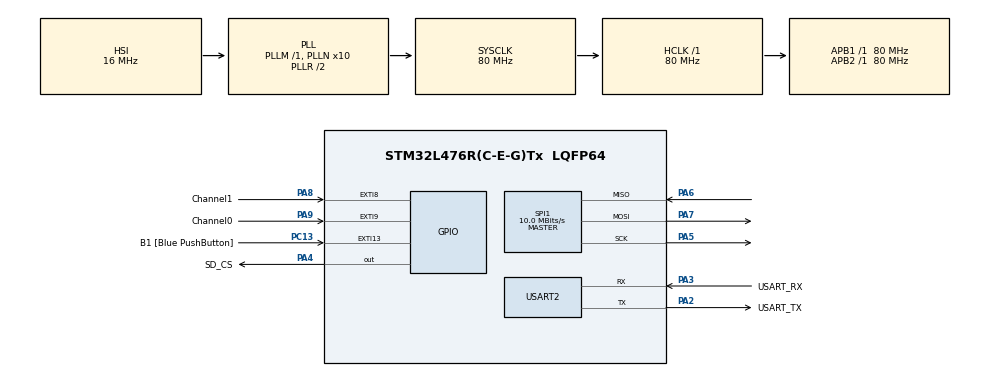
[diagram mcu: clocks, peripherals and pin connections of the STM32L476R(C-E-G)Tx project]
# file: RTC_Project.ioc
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FATFS._MAX_SS=4096
Mcu.Family=STM32L4
Mcu.Name=STM32L476R(C-E-G)Tx
Mcu.Package=LQFP64
NVIC.EXTI9_5_IRQn=true\:0\:0\:false\:false\:true\:true\:true\:true
NVIC.PriorityGroup=NVIC_PRIORITYGROUP_4
NVIC.USART2_IRQn=true\:0\:0\:false\:false\:true\:true\:true\:true
PA13\ (JTMS-SWDIO).GPIO_Label=TMS
PA13\ (JTMS-SWDIO).Mode=Serial_Wire
PA13\ (JTMS-SWDIO).Signal=SYS_JTMS-SWDIO
PA14\ (JTCK-SWCLK).GPIO_Label=TCK
PA14\ (JTCK-SWCLK).Mode=Serial_Wire
PA14\ (JTCK-SWCLK).Signal=SYS_JTCK-SWCLK
PA2.GPIO_Label=USART_TX
PA2.GPIO_Mode=GPIO_MODE_AF_PP
PA2.GPIO_PuPd=GPIO_NOPULL
PA2.GPIO_Speed=GPIO_SPEED_FREQ_VERY_HIGH
PA2.Mode=Asynchronous
PA2.Signal=USART2_TX
PA3.GPIO_Label=USART_RX
PA3.GPIO_Mode=GPIO_MODE_AF_PP
PA3.GPIO_PuPd=GPIO_NOPULL
PA3.GPIO_Speed=GPIO_SPEED_FREQ_VERY_HIGH
PA3.Mode=Asynchronous
PA3.Signal=USART2_RX
PA4.GPIO_Label=SD_CS
PA4.GPIO_Speed=GPIO_SPEED_FREQ_VERY_HIGH
PA4.PinState=GPIO_PIN_SET
PA4.Signal=GPIO_Output
PA5.Mode=Full_Duplex_Master
PA5.Signal=SPI1_SCK
PA6.Mode=Full_Duplex_Master
PA6.Signal=SPI1_MISO
PA7.Mode=Full_Duplex_Master
PA7.Signal=SPI1_MOSI
PA8.GPIO_Label=Channel1
PA8.GPIO_ModeDefaultEXTI=GPIO_MODE_IT_RISING_FALLING
PA8.GPIO_PuPd=GPIO_NOPULL
PA8.Signal=GPXTI8
PA9.GPIO_Label=Channel0
PA9.GPIO_ModeDefaultEXTI=GPIO_MODE_IT_RISING_FALLING
PA9.GPIO_PuPd=GPIO_NOPULL
PA9.Signal=GPXTI9
PB3\ (JTDO-TRACESWO).GPIO_Label=SWO
PB3\ (JTDO-TRACESWO).Signal=SYS_JTDO-SWO
PC13.GPIO_Label=B1 [Blue PushButton]
PC13.GPIO_ModeDefaultEXTI=GPIO_MODE_IT_FALLING
PC13.GPIO_PuPd=GPIO_NOPULL
PC13.Signal=GPXTI13
PC14-OSC32_IN\ (PC14).Mode=LSE-External-Oscillator
PC14-OSC32_IN\ (PC14).Signal=RCC_OSC32_IN
PC15-OSC32_OUT\ (PC15).Mode=LSE-External-Oscillator
PC15-OSC32_OUT\ (PC15).Signal=RCC_OSC32_OUT
PH0-OSC_IN\ (PH0).Signal=RCC_OSC_IN
PH1-OSC_OUT\ (PH1).Signal=RCC_OSC_OUT
ProjectManager.HeapSize=0x200
ProjectManager.StackSize=0x400
ProjectManager.TargetToolchain=STM32CubeIDE
RCC.ADCFreq_Value=64000000
RCC.AHBFreq_Value=80000000
RCC.APB1Freq_Value=80000000
RCC.APB1TimFreq_Value=80000000
RCC.APB2Freq_Value=80000000
RCC.APB2TimFreq_Value=80000000
RCC.CortexFreq_Value=80000000
RCC.HCLKFreq_Value=80000000
RCC.HSE_VALUE=8000000
RCC.HSI_VALUE=16000000
RCC.MSI_VALUE=4000000
RCC.PLLN=10
RCC.PLLSourceVirtual=RCC_PLLSOURCE_HSI
RCC.PREFETCH_ENABLE=1
RCC.SYSCLKFreq_VALUE=80000000
RCC.SYSCLKSource=RCC_SYSCLKSOURCE_PLLCLK
RCC.USBFreq_Value=64000000
RCC.VCOOutputFreq_Value=160000000
RTC.Alarm-Alarm\ A=RTC_ALARM_A
RTC.Date=11
RTC.Hours=14
RTC.Minutes=45
RTC.Month=RTC_MONTH_DECEMBER
RTC.Seconds=50
RTC.Year=23
SPI1.BaudRatePrescaler=SPI_BAUDRATEPRESCALER_8
SPI1.CalculateBaudRate=10.0 MBits/s
SPI1.DataSize=SPI_DATASIZE_8BIT
SPI1.Direction=SPI_DIRECTION_2LINES
SPI1.Mode=SPI_MODE_MASTER
SPI1.NSSPMode=SPI_NSS_PULSE_DISABLE
SPI1.VirtualType=VM_MASTER
USART2.VirtualMode-Asynchronous=VM_ASYNC
VP_FATFS_VS_Generic.Mode=User_defined
VP_RTC_VS_RTC_Activate.Mode=RTC_Enabled
VP_RTC_VS_RTC_Alarm_A_Intern.Mode=Alarm A
VP_RTC_VS_RTC_Calendar.Mode=RTC_Calendar
board=NUCLEO-L476RG

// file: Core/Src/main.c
/* USER CODE BEGIN Header */
/**
  ******************************************************************************
  * @file           : main.c
  * @brief          : Main program body
  ******************************************************************************
  * @attention
  *
  * Copyright (c) 2023 STMicroelectronics.
  * All rights reserved.
  *
  * This software is licensed under terms that can be found in the LICENSE file
  * in the root directory of this software component.
  * If no LICENSE file comes with this software, it is provided AS-IS.
  *
  ******************************************************************************
  */
/* USER CODE END Header */
#include "main.h"
#include "fatfs.h"

/* USER CODE BEGIN Includes */

#include <string.h>
#include "fatfs_sd.h"
#include <stdio.h>
#include <string.h>
#include <stdbool.h>
/* USER CODE END Includes */

/* USER CODE BEGIN PTD */

typedef enum _GPIO_STATE
{
	GPIO_IDLE 	= 0,
	GPIO_HIGH	= 1,
	GPIO_LOW	= 2
}GPIO_STATE;

/* USER CODE END PTD */

RTC_HandleTypeDef hrtc;

SPI_HandleTypeDef hspi1;

UART_HandleTypeDef huart2;

/* USER CODE BEGIN PV */

char time[24] = {0};
char date[24] = {0};

RTC_DateTypeDef gDate = {0};
RTC_TimeTypeDef gTime = {0};

extern uint8_t u8Var;
extern uint8_t u9Var;

volatile GPIO_STATE channel0 = GPIO_IDLE;
volatile GPIO_STATE channel1 = GPIO_IDLE;

/* USER CODE END PV */

void SystemClock_Config(void);
static void MX_GPIO_Init(void);
static void MX_USART2_UART_Init(void);
static void MX_RTC_Init(void);
static void MX_SPI1_Init(void);
/* USER CODE BEGIN PFP */
bool logDataToSD(const uint8_t * ptr, const uint8_t * time, const uint8_t * date, const uint8_t * fileName);
FRESULT open_append (
    FIL* fp,            /* [OUT] File object to create */
    const char* path    /* [IN]  File name to be opened */
);
/* USER CODE END PFP */

/* USER CODE BEGIN 0 */

FATFS fs;  // file system
FIL fil; // File
FILINFO fno;
FRESULT fresult;  // result
char buffer[1024];

UINT br, bw;  // File read/write count

bool bLogData = false;
/**** capacity related *****/
FATFS *pfs;
DWORD fre_clust;
uint32_t total, free_space;

/* to send the data to the uart */
void send_uart (char *string)
{
	uint8_t len = strlen (string);
	HAL_UART_Transmit(&huart2, (uint8_t*) string, len, 2000); // transmit in blocking mode
}

/* to find the size of data in the buffer */
int bufsize (char *buf)
{
	int i=0;
	while(*buf++ !='\0')i++;
	return i;
}

/* to clear the buffer */
void bufclear (void)
{
	for (int i = 0; i < 1024; i++)
	{
		buffer[i] = '\0';
	}
}

void set_time(void)
{
	  RTC_TimeTypeDef sTime = {0};
	  RTC_DateTypeDef sDate = {0};
	  /** Initialize RTC and set the Time and Date
	  */
	  sTime.Hours = 0x17;
	  sTime.Minutes = 0x05;
	  sTime.Seconds = 0x00;
	  sTime.DayLightSaving = RTC_DAYLIGHTSAVING_NONE;
	  sTime.StoreOperation = RTC_STOREOPERATION_RESET;
	  if (HAL_RTC_SetTime(&hrtc, &sTime, RTC_FORMAT_BCD) != HAL_OK)
	  {
	    Error_Handler();
	  }
	  sDate.WeekDay = RTC_WEEKDAY_MONDAY;
	  sDate.Month = RTC_MONTH_DECEMBER;
	  sDate.Date = 0x18;
	  sDate.Year = 0x23;

	  if (HAL_RTC_SetDate(&hrtc, &sDate, RTC_FORMAT_BCD) != HAL_OK)
	  {
	    Error_Handler();
	  }
}

void set_alarm(void)
{
	RTC_AlarmTypeDef sAlarm = {0};
	  /** Enable the Alarm A
	  */
	  sAlarm.AlarmTime.Hours = 0x0;
	  sAlarm.AlarmTime.Minutes = 0x0;
	  sAlarm.AlarmTime.Seconds = 0x0;
	  sAlarm.AlarmTime.SubSeconds = 0x0;
	  sAlarm.AlarmTime.DayLightSaving = RTC_DAYLIGHTSAVING_NONE;
	  sAlarm.AlarmTime.StoreOperation = RTC_STOREOPERATION_RESET;
	  sAlarm.AlarmMask = RTC_ALARMMASK_NONE;
	  sAlarm.AlarmSubSecondMask = RTC_ALARMSUBSECONDMASK_ALL;
	  sAlarm.AlarmDateWeekDaySel = RTC_ALARMDATEWEEKDAYSEL_DATE;
	  sAlarm.AlarmDateWeekDay = 0x1;
	  sAlarm.Alarm = RTC_ALARM_A;
	  if (HAL_RTC_SetAlarm(&hrtc, &sAlarm, RTC_FORMAT_BCD) != HAL_OK)
	  {
		Error_Handler();
	  }
	  /* USER CODE BEGIN RTC_Init 2 */

	  /* USER CODE END RTC_Init 2 */
}

void get_time(void)
{

	/* Get the RTC current Time */
	 HAL_RTC_GetTime(&hrtc, &gTime, RTC_FORMAT_BIN);
	/* Get the RTC current Date */
	 HAL_RTC_GetDate(&hrtc, &gDate, RTC_FORMAT_BIN);

	/* Display time Format: hh:mm:ss */
	 sprintf((char*) time, "%02d:%02d:%02d", gTime.Hours, gTime.Minutes, gTime.Seconds);

	/* Display date Format: dd-mm-yy */
	 sprintf((char*) date, "%02d-%02d-%2d", gDate.Date, gDate.Month, 2000 + gDate.Year);
}

/* USER CODE END 0 */

int main(void)
{

  /* MCU Configuration--------------------------------------------------------*/

  /* Reset of all peripherals, Initializes the Flash interface and the Systick. */
  HAL_Init();

  /* Configure the system clock */
  SystemClock_Config();

  /* Initialize all configured peripherals */
  MX_GPIO_Init();
  MX_USART2_UART_Init();
  MX_RTC_Init();
  MX_FATFS_Init();
  MX_SPI1_Init();
  /* USER CODE BEGIN 2 */

  set_time();

  //set_alarm ();

  fresult = f_mount(&fs,"",0);
  if(fresult != FR_OK )
  {
	  send_uart ("error in mounting SD CARD....\n");
  }
  else
  {
	  send_uart("SD CARD mounted successfully....\n");
  }

  /************************************* Card capacity details ***********************************/
  /* Check free space */

  	 f_getfree("", &fre_clust, &pfs);

	total = (uint32_t)((pfs->n_fatent - 2) * pfs->csize * 0.5);
	sprintf (buffer, "SD CARD Total Size: \t%lu\n", total);
	send_uart(buffer);
	bufclear();

	free_space = (uint32_t)(fre_clust * pfs->csize * 0.5);
	sprintf (buffer, "SD CARD Free Space: \t%lu\n", free_space);
	send_uart(buffer);
	bufclear();
#if 0
    /************************************* The following operation is using PUTS and GETS ***********************************/
  	/* Open file to write/ create a file if it doesn't exist */
      fresult = f_open(&fil, "file1.txt", FA_OPEN_ALWAYS | FA_READ | FA_WRITE);

	/* Writing text */
	f_puts("This data is from the FILE1.txt. And it was written using ...f_puts... ", &fil);

  	/* Close file */
  	fresult = f_close(&fil);

  	send_uart ("File1.txt created and the data is written \n");

  	/* Open file to read */
  	fresult = f_open(&fil, "file1.txt", FA_READ);

  	/* Read string from the file */
  	f_gets(buffer, fil.sect, &fil);

  	send_uart(buffer);

  	/* Close file */
  	f_close(&fil);

  	bufclear();

    /************************************* The following operation is using f_write and f_read ***********************************/
  	/* Open file to write/ create a file if it doesn't exist */
      fresult = f_open(&fil, "file2.txt", FA_OPEN_ALWAYS | FA_READ | FA_WRITE);

	/* Writing text */
	strcpy (buffer, "This is File 2 and it says Hello from controller\n" );

	fresult = f_write(&fil,buffer, bufsize(buffer), &bw);

	send_uart ("File2.txt created and data is written\n");

  	/* Close file */
  	f_close(&fil);

  	//clearing buffer to show result obtained is from the file
  	bufclear();

  	/* Open file to read */
  	fresult = f_open(&fil, "file2.txt", FA_READ);

  	/*Read data from the file
  	 * please see the function details for the arguments*/
  	f_read(&fil, buffer, fil.sect, &br);
  	send_uart(buffer);

  	/* Close file */
  	f_close(&fil);

  	bufclear();
#endif

  /* USER CODE END 2 */

  /* Infinite loop */
  /* USER CODE BEGIN WHILE */
  while (1)
  {
	  //get_time();
	  switch(channel0)
	  {
		  case GPIO_LOW:
		  {
			  const uint8_t * response = (uint8_t *) "Channel 0 Low at \r\n";
			  //HAL_UART_Transmit_IT(&huart2, (uint8_t *) response, strlen((char *) response));
			  HAL_UART_Transmit(&huart2, (uint8_t *) response, strlen((char *) response), 50);

			  //bool logDataToSD(const uint8_t * ptr, const uint8_t * time, const uint8_t * date, const uint8_t * fileName)
			  get_time();
			  //logDataToSD((char *) "Channel 0 Low at ", (uint8_t *) time, (uint8_t *) date, (uint8_t *) "channel0.txt");
			  if(logDataToSD((const uint8_t *) "Channel 0 Low at", (const uint8_t *) time, (const uint8_t *) date, (const uint8_t *) "channel0.txt") == true)
			  {
				  const uint8_t * dataLoggingResponse = (const uint8_t *) "LOGGING SUCCESS From Channel 0\r\n";
				  HAL_UART_Transmit(&huart2, (uint8_t *) dataLoggingResponse, strlen((char *) dataLoggingResponse), 50);
			  }else
			  {
				  const uint8_t * dataLoggingResponse = (const uint8_t *) "LOGGING FAILED From Channel 0\r\n";
				  HAL_UART_Transmit(&huart2, (uint8_t *) dataLoggingResponse, strlen((char *) dataLoggingResponse), 50);
			  }
			  channel0 = GPIO_IDLE;
		  }break;

		  case GPIO_HIGH:
		  {
			  const uint8_t * response = (uint8_t *) "Channel 0 High.\r\n";

			  //HAL_UART_Transmit_IT(&huart2, (uint8_t *) response, strlen((char *) response));
			  HAL_UART_Transmit(&huart2, (uint8_t *) response, strlen((char *) response), 50);
			  get_time();
			  if(logDataToSD((const uint8_t *) "Channel 0 High at", (uint8_t *) time, (uint8_t *) date, (uint8_t *) "channel0.txt") == true)
			  {
				  const uint8_t * dataLoggingResponse = (const uint8_t *) "LOGGING SUCCESS From Channel 0\r\n";
				  HAL_UART_Transmit(&huart2, (uint8_t *) dataLoggingResponse, strlen((char *) dataLoggingResponse), 50);
			  }else
			  {
				  const uint8_t * dataLoggingResponse = (const uint8_t *) "LOGGING FAILED From Channel 0\r\n";
				  HAL_UART_Transmit(&huart2, (uint8_t *) dataLoggingResponse, strlen((char *) dataLoggingResponse), 50);
			  }
			  channel0 = GPIO_IDLE;
		  }break;

		  default:
		  {

		  }break;
	  }

	  switch(channel1)
	  {
		  case GPIO_LOW:
		  {
			  const uint8_t * response = (uint8_t *) "Channel 1 Low.\r\n";
			  //HAL_UART_Transmit_IT(&huart2, (uint8_t *) response, strlen((char *) response));
			  HAL_UART_Transmit(&huart2, (uint8_t *) response, strlen((char *) response), 50);

			  get_time();
			  if(logDataToSD((const uint8_t *) "Channel 1 High at", (uint8_t *) time, (uint8_t *) date, (uint8_t *) "channel1.txt") == true)
			  {
				  const uint8_t * dataLoggingResponse = (const uint8_t *) "LOGGING SUCCESS From Channel 1\r\n";
				  HAL_UART_Transmit(&huart2, (uint8_t *) dataLoggingResponse, strlen((char *) dataLoggingResponse), 50);
			  }else
			  {
				  const uint8_t * dataLoggingResponse = (const uint8_t *) "LOGGING FAILED From Channel 1\r\n";
				  HAL_UART_Transmit(&huart2, (uint8_t *) dataLoggingResponse, strlen((char *) dataLoggingResponse), 50);
			  }
			  channel1 = GPIO_IDLE;
		  }break;

		  case GPIO_HIGH:
		  {

			  const uint8_t * response = (uint8_t *) "Channel 1 High.\r\n";
			  //HAL_UART_Transmit_IT(&huart2, (uint8_t *) response, strlen((char *) response));
			  HAL_UART_Transmit(&huart2, (uint8_t *) response, strlen((char *) response), 50);

			  get_time();
			  if(logDataToSD((const uint8_t *) "Channel 1 High at", (uint8_t *) time, (uint8_t *) date, (uint8_t *) "channel1.txt") == true)
			  {
				  const uint8_t * dataLoggingResponse = (const uint8_t *) "LOGGING SUCCESS From Channel 1\r\n";
				  HAL_UART_Transmit(&huart2, (uint8_t *) dataLoggingResponse, strlen((char *) dataLoggingResponse), 50);
			  }else
			  {
				  const uint8_t * dataLoggingResponse = (const uint8_t *) "LOGGING FAILED From Channel 1\r\n";
				  HAL_UART_Transmit(&huart2, (uint8_t *) dataLoggingResponse, strlen((char *) dataLoggingResponse), 50);
			  }
			  channel1 = GPIO_IDLE;
		  }break;

		  default:
		  {

		  }break;
	  }
//	  if set
#if 0
	  if(u8Var)
	  {
		  HAL_Delay(20);
		  if()
		  get_time();
		  size_t length = strlen(time);
		  HAL_UART_Transmit(&huart2, (uint8_t *) time, length, 100);
		  //HAL_Delay(20);
		  length = strlen(date);
		  HAL_UART_Transmit(&huart2, (uint8_t *)date, length, 100);

		  u8Var = 0;

	  }

	  if(u9Var)
	  {

		  get_time();
		  size_t length = strlen(time);
		  HAL_UART_Transmit(&huart2, (uint8_t *) time, length, 100);
		  //HAL_Delay(20);
		  length = strlen(date);
		  HAL_UART_Transmit(&huart2, (uint8_t *) date, length, 100);
		  HAL_Delay(1000);
		  u9Var = 0;

	  }
#endif

    /* USER CODE END WHILE */

  }
}

void SystemClock_Config(void)
{
  RCC_OscInitTypeDef RCC_OscInitStruct = {0};
  RCC_ClkInitTypeDef RCC_ClkInitStruct = {0};

  /** Configure the main internal regulator output voltage
  */
  if (HAL_PWREx_ControlVoltageScaling(PWR_REGULATOR_VOLTAGE_SCALE1) != HAL_OK)
  {
    Error_Handler();
  }

  /** Initializes the RCC Oscillators according to the specified parameters
  * in the RCC_OscInitTypeDef structure.
  */
  RCC_OscInitStruct.OscillatorType = RCC_OSCILLATORTYPE_HSI|RCC_OSCILLATORTYPE_LSI;
  RCC_OscInitStruct.HSIState = RCC_HSI_ON;
  RCC_OscInitStruct.HSICalibrationValue = RCC_HSICALIBRATION_DEFAULT;
  RCC_OscInitStruct.LSIState = RCC_LSI_ON;
  RCC_OscInitStruct.PLL.PLLState = RCC_PLL_ON;
  RCC_OscInitStruct.PLL.PLLSource = RCC_PLLSOURCE_HSI;
  RCC_OscInitStruct.PLL.PLLM = 1;
  RCC_OscInitStruct.PLL.PLLN = 10;
  RCC_OscInitStruct.PLL.PLLP = RCC_PLLP_DIV7;
  RCC_OscInitStruct.PLL.PLLQ = RCC_PLLQ_DIV2;
  RCC_OscInitStruct.PLL.PLLR = RCC_PLLR_DIV2;
  if (HAL_RCC_OscConfig(&RCC_OscInitStruct) != HAL_OK)
  {
    Error_Handler();
  }

  /** Initializes the CPU, AHB and APB buses clocks
  */
  RCC_ClkInitStruct.ClockType = RCC_CLOCKTYPE_HCLK|RCC_CLOCKTYPE_SYSCLK
                              |RCC_CLOCKTYPE_PCLK1|RCC_CLOCKTYPE_PCLK2;
  RCC_ClkInitStruct.SYSCLKSource = RCC_SYSCLKSOURCE_PLLCLK;
  RCC_ClkInitStruct.AHBCLKDivider = RCC_SYSCLK_DIV1;
  RCC_ClkInitStruct.APB1CLKDivider = RCC_HCLK_DIV1;
  RCC_ClkInitStruct.APB2CLKDivider = RCC_HCLK_DIV1;

  if (HAL_RCC_ClockConfig(&RCC_ClkInitStruct, FLASH_LATENCY_4) != HAL_OK)
  {
    Error_Handler();
  }
}

static void MX_RTC_Init(void)
{

  RTC_TimeTypeDef sTime = {0};
  RTC_DateTypeDef sDate = {0};
  RTC_AlarmTypeDef sAlarm = {0};

  /** Initialize RTC Only
  */
  hrtc.Instance = RTC;
  hrtc.Init.HourFormat = RTC_HOURFORMAT_24;
  hrtc.Init.AsynchPrediv = 127;
  hrtc.Init.SynchPrediv = 255;
  hrtc.Init.OutPut = RTC_OUTPUT_DISABLE;
  hrtc.Init.OutPutRemap = RTC_OUTPUT_REMAP_NONE;
  hrtc.Init.OutPutPolarity = RTC_OUTPUT_POLARITY_HIGH;
  hrtc.Init.OutPutType = RTC_OUTPUT_TYPE_OPENDRAIN;
  if (HAL_RTC_Init(&hrtc) != HAL_OK)
  {
    Error_Handler();
  }

  /** Initialize RTC and set the Time and Date
  */
  sTime.Hours = 0x14;
  sTime.Minutes = 0x45;
  sTime.Seconds = 0x50;
  sTime.DayLightSaving = RTC_DAYLIGHTSAVING_NONE;
  sTime.StoreOperation = RTC_STOREOPERATION_RESET;
  if (HAL_RTC_SetTime(&hrtc, &sTime, RTC_FORMAT_BCD) != HAL_OK)
  {
    Error_Handler();
  }
  sDate.WeekDay = RTC_WEEKDAY_MONDAY;
  sDate.Month = RTC_MONTH_DECEMBER;
  sDate.Date = 0x11;
  sDate.Year = 0x23;

  if (HAL_RTC_SetDate(&hrtc, &sDate, RTC_FORMAT_BCD) != HAL_OK)
  {
    Error_Handler();
  }

  /** Enable the Alarm A
  */
  sAlarm.AlarmTime.Hours = 0x0;
  sAlarm.AlarmTime.Minutes = 0x0;
  sAlarm.AlarmTime.Seconds = 0x0;
  sAlarm.AlarmTime.SubSeconds = 0x0;
  sAlarm.AlarmTime.DayLightSaving = RTC_DAYLIGHTSAVING_NONE;
  sAlarm.AlarmTime.StoreOperation = RTC_STOREOPERATION_RESET;
  sAlarm.AlarmMask = RTC_ALARMMASK_NONE;
  sAlarm.AlarmSubSecondMask = RTC_ALARMSUBSECONDMASK_ALL;
  sAlarm.AlarmDateWeekDaySel = RTC_ALARMDATEWEEKDAYSEL_DATE;
  sAlarm.AlarmDateWeekDay = 0x1;
  sAlarm.Alarm = RTC_ALARM_A;
  if (HAL_RTC_SetAlarm(&hrtc, &sAlarm, RTC_FORMAT_BCD) != HAL_OK)
  {
    Error_Handler();
  }

}

static void MX_SPI1_Init(void)
{

  /* SPI1 parameter configuration*/
  hspi1.Instance = SPI1;
  hspi1.Init.Mode = SPI_MODE_MASTER;
  hspi1.Init.Direction = SPI_DIRECTION_2LINES;
  hspi1.Init.DataSize = SPI_DATASIZE_8BIT;
  hspi1.Init.CLKPolarity = SPI_POLARITY_LOW;
  hspi1.Init.CLKPhase = SPI_PHASE_1EDGE;
  hspi1.Init.NSS = SPI_NSS_SOFT;
  hspi1.Init.BaudRatePrescaler = SPI_BAUDRATEPRESCALER_8;
  hspi1.Init.FirstBit = SPI_FIRSTBIT_MSB;
  hspi1.Init.TIMode = SPI_TIMODE_DISABLE;
  hspi1.Init.CRCCalculation = SPI_CRCCALCULATION_DISABLE;
  hspi1.Init.CRCPolynomial = 7;
  hspi1.Init.CRCLength = SPI_CRC_LENGTH_DATASIZE;
  hspi1.Init.NSSPMode = SPI_NSS_PULSE_DISABLE;
  if (HAL_SPI_Init(&hspi1) != HAL_OK)
  {
    Error_Handler();
  }

}

static void MX_USART2_UART_Init(void)
{

  huart2.Instance = USART2;
  huart2.Init.BaudRate = 115200;
  huart2.Init.WordLength = UART_WORDLENGTH_8B;
  huart2.Init.StopBits = UART_STOPBITS_1;
  huart2.Init.Parity = UART_PARITY_NONE;
  huart2.Init.Mode = UART_MODE_TX_RX;
  huart2.Init.HwFlowCtl = UART_HWCONTROL_NONE;
  huart2.Init.OverSampling = UART_OVERSAMPLING_16;
  huart2.Init.OneBitSampling = UART_ONE_BIT_SAMPLE_DISABLE;
  huart2.AdvancedInit.AdvFeatureInit = UART_ADVFEATURE_NO_INIT;
  if (HAL_UART_Init(&huart2) != HAL_OK)
  {
    Error_Handler();
  }

}

static void MX_GPIO_Init(void)
{
  GPIO_InitTypeDef GPIO_InitStruct = {0};

  /* GPIO Ports Clock Enable */
  __HAL_RCC_GPIOC_CLK_ENABLE();
  __HAL_RCC_GPIOH_CLK_ENABLE();
  __HAL_RCC_GPIOA_CLK_ENABLE();
  __HAL_RCC_GPIOB_CLK_ENABLE();

  /*Configure GPIO pin Output Level */
  HAL_GPIO_WritePin(SD_CS_GPIO_Port, SD_CS_Pin, GPIO_PIN_SET);

  /*Configure GPIO pin : B1_Pin */
  GPIO_InitStruct.Pin = B1_Pin;
  GPIO_InitStruct.Mode = GPIO_MODE_IT_FALLING;
  GPIO_InitStruct.Pull = GPIO_NOPULL;
  HAL_GPIO_Init(B1_GPIO_Port, &GPIO_InitStruct);

  /*Configure GPIO pin : SD_CS_Pin */
  GPIO_InitStruct.Pin = SD_CS_Pin;
  GPIO_InitStruct.Mode = GPIO_MODE_OUTPUT_PP;
  GPIO_InitStruct.Pull = GPIO_NOPULL;
  GPIO_InitStruct.Speed = GPIO_SPEED_FREQ_VERY_HIGH;
  HAL_GPIO_Init(SD_CS_GPIO_Port, &GPIO_InitStruct);

  /*Configure GPIO pins : Channel1_Pin Channel0_Pin */
  GPIO_InitStruct.Pin = Channel1_Pin|Channel0_Pin;
  GPIO_InitStruct.Mode = GPIO_MODE_IT_RISING_FALLING;
  GPIO_InitStruct.Pull = GPIO_NOPULL;
  HAL_GPIO_Init(GPIOA, &GPIO_InitStruct);

  /* EXTI interrupt init*/
  HAL_NVIC_SetPriority(EXTI9_5_IRQn, 0, 0);
  HAL_NVIC_EnableIRQ(EXTI9_5_IRQn);

}

/* USER CODE BEGIN 4 */
void HAL_GPIO_EXTI_Callback(uint16_t GPIO_Pin)
{
	if(GPIO_Pin == GPIO_PIN_9)
	{
		if(HAL_GPIO_ReadPin(Channel0_GPIO_Port, Channel0_Pin) == 0)
		{
			channel0 = GPIO_LOW;
		}else
		{
			channel0 = GPIO_HIGH;
		}
	}else if(GPIO_Pin == GPIO_PIN_8)
	{
		if(HAL_GPIO_ReadPin(Channel1_GPIO_Port, Channel1_Pin) == 0)
		{
			channel1 = GPIO_LOW;
		}else
		{
			channel1 = GPIO_HIGH;
		}
	}
}

bool logDataToSD(const uint8_t * ptr, const uint8_t * time, const uint8_t * date, const uint8_t * fileName)
{
	uint8_t	buffer[64] = {0};
	fresult = open_append(&fil, (char *) fileName); //f_open(&fil, (char *) fileName, FA_CREATE_ALWAYS | FA_WRITE | FA_OPEN_APPEND);

	if(fresult != FR_OK)
	{
		return false;
	}

	strcpy((char *) buffer, (char *) ptr);
	strcat((char *) buffer, (char *) " ");
	strcat((char *) buffer, (char *) time);
	strcat((char *) buffer, (char *) " ");
	strcat((char *) buffer, (char *) date);
	strcat((char *) buffer, (char *) "\r\n");

	/* Writing text */
	//strcpy (buffer, "This is File 2 and it says Hello from controller\n" );

	/* Writing text */
	//f_puts("This data is from the FILE1.txt. And it was written using ...f_puts... ", &fil);

	fresult = f_write(&fil, buffer, strlen((char *) buffer), &bw);

	f_close(&fil);

	if(fresult == FR_OK)
	{
		return true;
	}else
	{
		return false;
	}
}

FRESULT open_append (
    FIL* fp,            /* [OUT] File object to create */
    const char* path    /* [IN]  File name to be opened */
)
{
    FRESULT fr;

    /* Opens an existing file. If not exist, creates a new file. */
    fr = f_open(fp, path, FA_WRITE | FA_OPEN_ALWAYS);
    if (fr == FR_OK) {
        /* Seek to end of the file to append data */
        fr = f_lseek(fp, f_size(fp));
        if (fr != FR_OK)
            f_close(fp);
    }
    return fr;
}
/* USER CODE END 4 */

void Error_Handler(void)
{
  __disable_irq();
  while (1)
  {
  }
}
